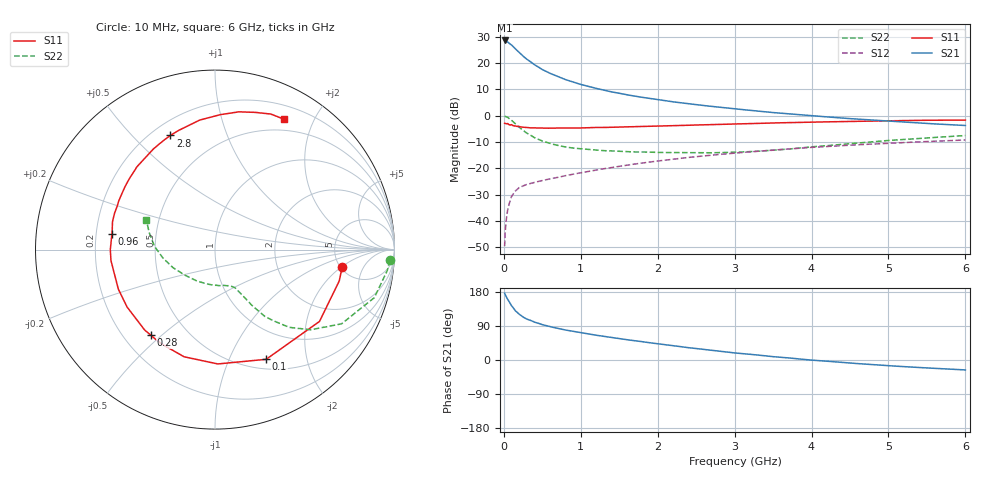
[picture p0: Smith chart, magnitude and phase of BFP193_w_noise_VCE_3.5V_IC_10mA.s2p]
! Infineon Technologies  Discrete & RF Semiconductors
! BFP193
! VCE = 3.5 V,  IC =  10 mA
! Common Emitter S-Parameters:  Jan 2016
# GHz  S  MA  R  50
!  f  S11  S21  S12  S22
! GHz  MAG  ANG  MAG  ANG  MAG  ANG  MAG  ANG
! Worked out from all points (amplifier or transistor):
!   210 points, 10 MHz to 6 GHz, reference 50 ohm
!   highest |S21| = 28.6 dB at 10 MHz (marker M1)
!   |S21| within 3 dB of that: start of sweep to 143.5 MHz
!   unconditionally stable (mu >= 1): 994.1 MHz to 3.721 GHz
!   at 185 MHz: K = 0.32, MSG = 26.1 dB, |S12| = -27.7 dB
!   at 1.52 GHz: K = 1.08, MAG = 12.0 dB, |S12| = -19.2 dB
!   at 6 GHz: K = 0.90, MSG = 2.8 dB, |S12| = -9.3 dB
!   lowest NFmin = 1.30 dB at 450 MHz
!   S11 on the Smith chart (normalised r, x): 10 MHz: 5.22, -2.02; 100 MHz: 0.62, -1.38; 280 MHz: 0.31, -0.46; 960 MHz: 0.27, +0.07; 2.8 GHz: 0.27, +0.65; 6 GHz: 0.36, +1.61
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0.01  0.7154 -7.6  26.83 176.4  0.0033 86.3  0.9758 -3.5
0.02  0.7139 -14.2  26.22 171.1  0.0068 81.6  0.9671 -6.9
0.05  0.7065 -34.5  25.1 159.7  0.0161 74.3  0.9271 -16.8
0.1  0.6744 -65.0  22.03 143.2  0.029 62.1  0.8174 -30.4
0.15  0.6373 -88.6  18.62 129.8  0.0369 53.3  0.6963 -39.9
0.195  0.6203 -104.3  16.1 121.7  0.0422 48.6  0.6097 -45.5
0.24  0.6046 -117.4  13.95 114.9  0.0455 45.4  0.5368 -49.3
0.28  0.5962 -126.8  12.45 110.1  0.0481 44.0  0.4865 -52.0
0.3  0.5952 -131.2  11.77 107.8  0.0493 43.5  0.4636 -53.3
0.4  0.5851 -146.9  9.247 99.8  0.054 42.1  0.3799 -56.3
0.5  0.5818 -157.7  7.512 93.3  0.0583 42.4  0.3289 -57.8
0.6  0.5769 -166.4  6.37 88.0  0.0628 43.3  0.2949 -59.1
0.7  0.5827 -173.9  5.528 83.2  0.0669 44.7  0.2712 -60.2
0.96  0.5809 171.6  4.079 73.5  0.0799 46.8  0.2369 -63.0
1.02  0.5841 168.5  3.848 71.4  0.0828 47.2  0.2325 -63.8
1.4  0.6013 152.9  2.828 59.5  0.1029 48.5  0.2134 -70.8
2.02  0.6345 132.8  1.988 42.3  0.1383 46.9  0.1993 -86.8
2.8  0.6831 111.4  1.447 23.3  0.1826 41.4  0.1977 -113.5
3.1  0.6993 104.7  1.303 16.9  0.1993 38.7  0.2039 -125.0
4.1  0.7565 86.2  0.971 -1.7  0.2539 29.2  0.2615 -160.0
5.1  0.8001 72.4  0.772 -16.3  0.3029 18.7  0.3441 174.6
6  0.8222 62.0  0.649 -26.2  0.3442 8.9  0.4183 156.4
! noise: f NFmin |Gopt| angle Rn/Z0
0.45  1.3  0.22  143  0.11
0.9  1.3  0.34  160  0.11
1.8  2.05  0.54  -153  0.14
